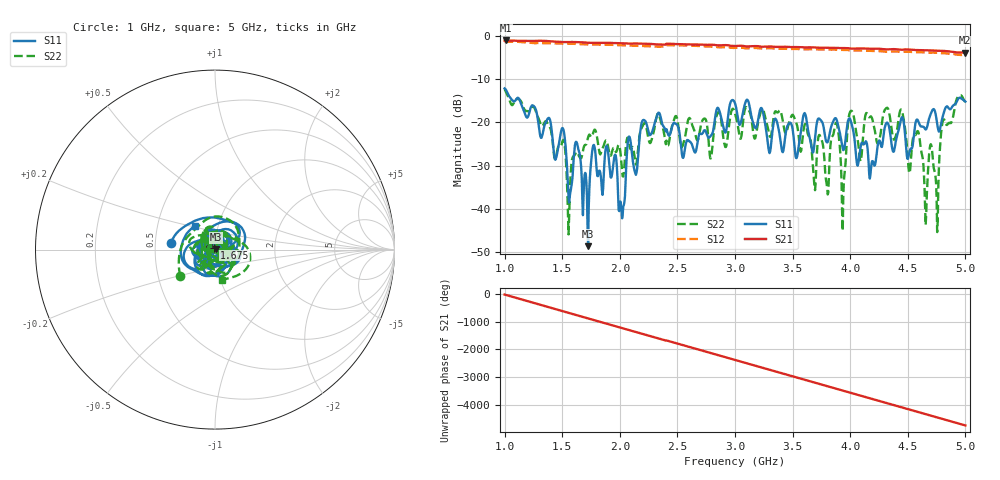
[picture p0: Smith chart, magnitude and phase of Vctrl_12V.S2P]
! C:\Users\Aljaz\OneDrive - Univerza v Ljubljani\DOKTORAT\NOVI TG\PIN AGC ATT\meritve_BAP64Q\Vctrl_12V.S2P
! Touchstone 1.1 file saved by VNA.EXE V1.65 (www.ke5fx.com/gpib/readme.htm)
! 22. 10. 2022 12:12:38
!  Source: HP8510C.07.14: Aug 26  1998
!  Min freq: 1.000000E+009 Hz
!  Max freq: 5.000000E+009 Hz
!  Points: 801
!  Params: S11 S21 S12 S22
# GHZ S DB R 50
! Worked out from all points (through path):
!   801 points, 1 GHz to 5 GHz, reference 50 ohm
!   highest |S21| = -1.08 dB at 1.01 GHz (marker M1); lowest = -3.9 dB at 4.995 GHz (marker M2)
!   lowest |S11| = -48.6 dB at 1.725 GHz (marker M3), VSWR 1.01, Z = 50.3 + j0.166 ohm
!   |S11| at or under -10 dB: start of sweep to end of sweep
!   |S22| runs from -45.9 to -12.3 dB; largest |S21 - S12| = 0.91
!   S11 on the Smith chart (normalised r, x): 1 GHz: 0.61, +0.05; 1.675 GHz: 0.99, +0.02; 5 GHz: 0.77, +0.21
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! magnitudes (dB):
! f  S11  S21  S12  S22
! 1 GHz  -12.2  -1.1  -1.4  -12.3
! 1.01 GHz  -12.4  -1.1  -1.4  -12.9
! 1.505 GHz  -21.4  -1.4  -1.8  -24.2
! 1.555 GHz  -37.3  -1.4  -1.8  -45.9
! 1.67 GHz  -33.2  -1.5  -1.9  -27.9
! 1.675 GHz  -37.9  -1.5  -1.9  -27.4
! 1.725 GHz  -48.6  -1.6  -2.0  -23.4
! 1.89 GHz  -25.6  -1.6  -2.1  -24.6
! 2.015 GHz  -40.3  -1.7  -2.2  -29.7
! 2.08 GHz  -23.3  -1.8  -2.2  -24.5
! 2.335 GHz  -17.8  -2.0  -2.5  -18.0
! 3 GHz  -15.6  -2.4  -2.8  -17.9
! 3.67 GHz  -26.6  -2.7  -3.1  -27.9
! 3.8 GHz  -24.7  -2.8  -3.2  -35.1
! 3.88 GHz  -19.3  -2.8  -3.2  -20.1
! 3.94 GHz  -26.4  -2.8  -3.3  -37.2
! 4.005 GHz  -19.7  -2.9  -3.4  -17.4
! 4.185 GHz  -29.6  -3.0  -3.5  -18.8
! 4.335 GHz  -20.8  -3.1  -3.7  -17.4
! 4.655 GHz  -21.6  -3.3  -3.9  -43.7
! 4.995 GHz  -15.1  -3.9  -4.4  -15.2
! 5 GHz  -15.2  -3.9  -4.4  -15.2
